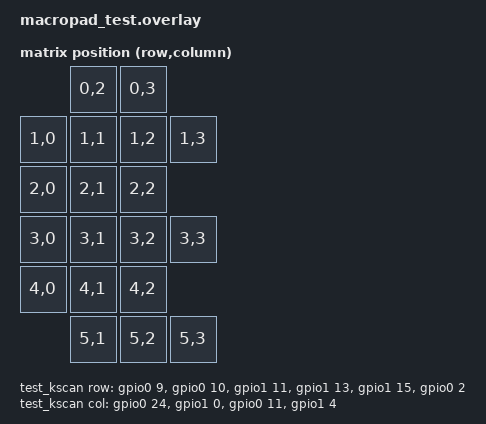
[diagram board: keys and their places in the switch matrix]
#include <dt-bindings/zmk/matrix_transform.h>

// Identical pin assignments to the real macropad shield.
// R0=P0.09  R1=P0.10  R2=P1.11  R3=P1.13  R4=P1.15  R5=P0.02
// C0=P0.24  C1=P1.00  C2=P0.11  C3=P1.04

/ {
    chosen {
        zmk,kscan = &test_kscan;
        zmk,matrix-transform = &test_transform;
    };

    test_kscan: kscan {
        compatible = "zmk,kscan-gpio-matrix";
        diode-direction = "col2row";

        row-gpios
            = <&gpio0  9 (GPIO_ACTIVE_HIGH | GPIO_PULL_DOWN)>   // R0
            , <&gpio0 10 (GPIO_ACTIVE_HIGH | GPIO_PULL_DOWN)>   // R1
            , <&gpio1 11 (GPIO_ACTIVE_HIGH | GPIO_PULL_DOWN)>   // R2
            , <&gpio1 13 (GPIO_ACTIVE_HIGH | GPIO_PULL_DOWN)>   // R3
            , <&gpio1 15 (GPIO_ACTIVE_HIGH | GPIO_PULL_DOWN)>   // R4
            , <&gpio0  2 (GPIO_ACTIVE_HIGH | GPIO_PULL_DOWN)>   // R5
            ;

        col-gpios
            = <&gpio0 24 GPIO_ACTIVE_HIGH>   // C0
            , <&gpio1  0 GPIO_ACTIVE_HIGH>   // C1
            , <&gpio0 11 GPIO_ACTIVE_HIGH>   // C2
            , <&gpio1  4 GPIO_ACTIVE_HIGH>   // C3
            ;
    };

    test_transform: matrix_transform {
        compatible = "zmk,matrix-transform";
        rows = <6>;
        columns = <4>;

        map = <
                        RC(0,2) RC(0,3)
            RC(1,0) RC(1,1) RC(1,2) RC(1,3)
            RC(2,0) RC(2,1) RC(2,2)
            RC(3,0) RC(3,1) RC(3,2) RC(3,3)
            RC(4,0) RC(4,1) RC(4,2)
                    RC(5,1) RC(5,2) RC(5,3)
        >;
    };
};
